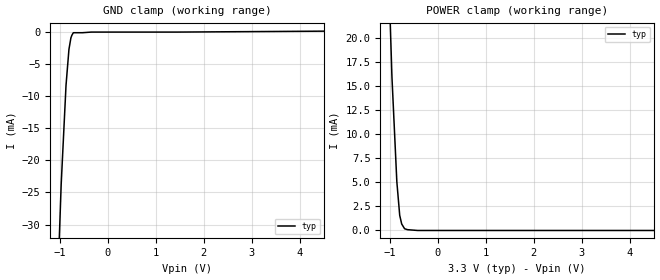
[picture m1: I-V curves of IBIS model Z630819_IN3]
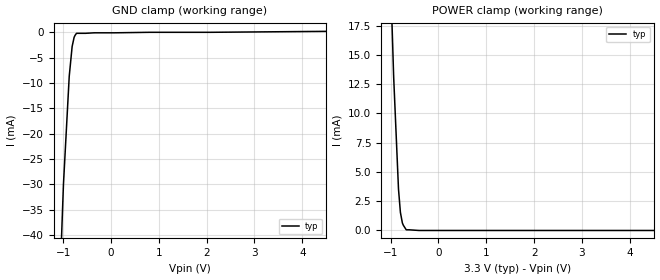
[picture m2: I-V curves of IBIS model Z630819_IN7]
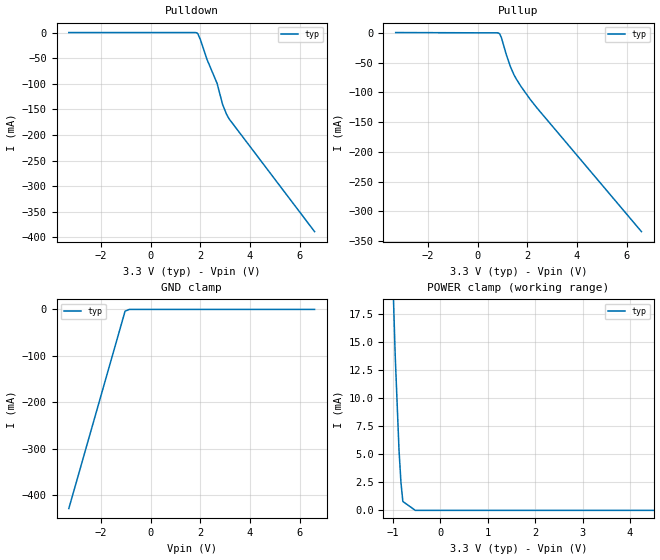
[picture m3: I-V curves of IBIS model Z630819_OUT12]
| YOU ARE ONLY AUTHORIZED TO USE THIS SOFTWARE
| ACCORDING TO LICENSOR'S LICENSE RESTRICTIONS.
[IBIS Ver] 3.1
[File Name] nb100lvep17dt_33.ibs
[File Rev] 1.0
[Source] Derived from mc100lvep210fa_33.ibs
|   Measured and created by ICX Technology
[Date] Monday 12/10/2002
[Copyright]
| (C) COPYRIGHT 1993-2000
| MENTOR GRAPHICS CORPORATION
| ICX STANDARD LIBRARY, ICX PROJECT MODELING,
| ICX CUSTOM MODELING, ICX VENDOR MODEL
| ALL RIGHTS RESERVED.
| THE FOLLOWING ARE TRADEMARKS OR SERVICE MARKS OF
| MENTOR GRAPHICS CORPORATION:ICX (R), ICX STANDARD
| LIBRARY(R), ICX PROJECT MODELING(R), ICX CUSTOM
| MODELING(R), qualityIBIS(TM), MODELVIEWER(TM),
| AND MODELEDITOR(TM)
| ALL COPIES OF SOFTWARE, INCLUDING BUT NOT LIMITED TO
| ANY MODIFICATIONS, ENHANCEMENTS OR DERIVATIVE WORKS,
| MUST CONTAIN ALL MENTOR GRAPHICS CORPORATION'S
| NOTICES AND LEGENDS, INCLUDING THOSE EMBEDDED IN
| SOFTWARE AND THOSE AFFIXED TO SOFTWARE MEDIUM
| AND CONTAINER, AS RECEIVED FROM MENTOR GRAPHICS
| CORPORATION.
|  ZAP Model Builder 2.8
[Component] NB100LVEP17DT_33
[Manufacturer] ON
[Package]
| variable   typ   min   max
R_pkg  .18ohms NA NA
L_pkg  4.22nH NA NA
C_pkg  .41pF NA NA
[Pin] signal_name  model_name  R_pin  L_pin C_pin
1  VCC POWER .194 5.16n .43p
2  D0  Z630819_IN3  .068 4.288n 1.027p
3  _D0 Z630819_IN7  .069 4.455n 1.077p
4  D1  Z630819_IN3  .068 4.288n 1.027p
5  _D1 Z630819_IN7  .069 4.455n 1.077p
6  D2  Z630819_IN3  .068 4.288n 1.027p
7  _D2 Z630819_IN7  .069 4.455n 1.077p
8  D3  Z630819_IN3  .068 4.288n 1.027p
9  _D3 Z630819_IN7  .069 4.455n 1.077p
10 VBB POWER .069 4.455n 1.077p
11 VEE POWER .194 5.16n .43p
12 _Q3 Z630819_OUT13 .068 4.288n 1.027p
13 Q3  Z630819_OUT12 .066 4.127n .978p
14 _Q2 Z630819_OUT13 .068 4.288n 1.027p
15 Q2  Z630819_OUT12 .066 4.127n .978p
16 _Q1 Z630819_OUT13 .068 4.288n 1.027p
17 Q1  Z630819_OUT12 .066 4.127n .978p
18 _Q0 Z630819_OUT13 .068 4.288n 1.027p
19 Q0  Z630819_OUT12 .066 4.127n .978p
20 VCC POWER .194 5.16n .43p
[Diff Pin] inv_pin vdiff tdelay_typ tdelay_min tdelay_max
2 3 150mv NA NA NA
4 5 150mv NA NA NA
6 7 150mv NA NA NA
8 9 150mv NA NA NA
13 12 NA .240ns .200ns .310ns
15 14 NA .240ns .200ns .310ns
17 16 NA .240ns .200ns .310ns
19 18 NA .240ns .200ns .310ns
| Models and submodels in the file (4): Z630819_IN3 (Input_ECL), Z630819_IN7 (Input_ECL), Z630819_OUT12 (Output_ECL), Z630819_OUT13 (Output_ECL)
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| (C) COPYRIGHT 1993-2000
| MENTOR GRAPHICS CORPORATION
| ICX STANDARD LIBRARY, ICX PROJECT MODELING,
| ICX CUSTOM MODELING, ICX VENDOR MODEL
| ALL RIGHTS RESERVED.
| THE FOLLOWING ARE TRADEMARKS OR SERVICE MARKS OF
| MENTOR GRAPHICS CORPORATION:ICX (R), ICX STANDARD
| LIBRARY(R), ICX PROJECT MODELING(R), ICX CUSTOM
| MODELING(R), qualityIBIS(TM), MODELVIEWER(TM),
| AND MODELEDITOR(TM)
| ALL COPIES OF SOFTWARE, INCLUDING BUT NOT LIMITED TO
| ANY MODIFICATIONS, ENHANCEMENTS OR DERIVATIVE WORKS,
| MUST CONTAIN ALL MENTOR GRAPHICS CORPORATION'S
| NOTICES AND LEGENDS, INCLUDING THOSE EMBEDDED IN
| SOFTWARE AND THOSE AFFIXED TO SOFTWARE MEDIUM
| AND CONTAINER, AS RECEIVED FROM MENTOR GRAPHICS
| CORPORATION.
| Model Application Version 1.89 2/18/99.
[Model] Z630819_IN3
Model_type Input_ECL
Vinl = 1.675V
Vinh = 2.135V
C_comp 1.500pF NA NA
| variable typ   min   max
[Voltage Range] 3.300V NA NA
[GND Clamp Reference] 0.000V NA NA
[POWER Clamp Reference] 3.300V NA NA
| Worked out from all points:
|   GND clamp passes 1 mA (typ) near -0.77 V on its own axis
|   POWER clamp passes 1 mA (typ) near -0.77 V on its own axis
[GND Clamp]
-3.3V     -625.8mA   NA         NA
-1.095V   -49.9mA    NA         NA
-973mV    -23.8mA    NA         NA
-872mV    -8.3mA     NA         NA
-811mV    -2.7mA     NA         NA
-770mV    -900uA     NA         NA
-750mV    -500uA     NA         NA
-719.8mV  -100uA     NA         NA
-532.3mV  -100uA     NA         NA
-344.8mV  0A         NA         NA
1.449V    0A         NA         NA
6.6V      243.2uA    NA         NA
[POWER Clamp]
-3.3V     386.1mA    NA         NA
-957mV    15.97mA    NA         NA
-855mV    5.072mA    NA         NA
-795mV    1.575mA    NA         NA
-754mV    677uA      NA         NA
-693mV    179.9uA    NA         NA
-632mV    82.77uA    NA         NA
-421.3mV  0A         NA         NA
6.6V      0A         NA         NA
| (C) COPYRIGHT 1993-2000
| MENTOR GRAPHICS CORPORATION
| ICX STANDARD LIBRARY, ICX PROJECT MODELING,
| ICX CUSTOM MODELING, ICX VENDOR MODEL
| ALL RIGHTS RESERVED.
| THE FOLLOWING ARE TRADEMARKS OR SERVICE MARKS OF
| MENTOR GRAPHICS CORPORATION:ICX (R), ICX STANDARD
| LIBRARY(R), ICX PROJECT MODELING(R), ICX CUSTOM
| MODELING(R), qualityIBIS(TM), MODELVIEWER(TM),
| AND MODELEDITOR(TM)
| ALL COPIES OF SOFTWARE, INCLUDING BUT NOT LIMITED TO
| ANY MODIFICATIONS, ENHANCEMENTS OR DERIVATIVE WORKS,
| MUST CONTAIN ALL MENTOR GRAPHICS CORPORATION'S
| NOTICES AND LEGENDS, INCLUDING THOSE EMBEDDED IN
| SOFTWARE AND THOSE AFFIXED TO SOFTWARE MEDIUM
| AND CONTAINER, AS RECEIVED FROM MENTOR GRAPHICS
| CORPORATION.
| Model Application Version 1.89 2/18/99.
[Model] Z630819_IN7
Model_type Input_ECL
Vinl = 1.675V
Vinh = 2.135V
C_comp 1.500pF NA NA
| variable typ   min   max
[Voltage Range] 3.300V NA NA
[GND Clamp Reference] 0.000V NA NA
[POWER Clamp Reference] 3.300V NA NA
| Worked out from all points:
|   GND clamp passes 1 mA (typ) near -0.77 V on its own axis
|   POWER clamp passes 1 mA (typ) near -0.77 V on its own axis
[GND Clamp]
-3.3V     -767.5mA   NA         NA
-1.115V   -62.2mA    NA         NA
-993mV    -30.1mA    NA         NA
-872mV    -8.7mA     NA         NA
-811mV    -2.8mA     NA         NA
-770mV    -1mA       NA         NA
-719.8mV  -200uA     NA         NA
6.6V      353.3uA    NA         NA
[POWER Clamp]
-3.3V     388mA      NA         NA
-1.038V   26.52mA    NA         NA
-936mV    13.13mA    NA         NA
-835mV    3.54mA     NA         NA
-795mV    1.543mA    NA         NA
-754mV    646uA      NA         NA
-734mV    447.6uA    NA         NA
-673mV    57.17uA    NA         NA
-612mV    57.17uA    NA         NA
-408mV    0A         NA         NA
6.6V      0A         NA         NA
| (C) COPYRIGHT 1993-2000
| MENTOR GRAPHICS CORPORATION
| ICX STANDARD LIBRARY, ICX PROJECT MODELING,
| ICX CUSTOM MODELING, ICX VENDOR MODEL
| ALL RIGHTS RESERVED.
| THE FOLLOWING ARE TRADEMARKS OR SERVICE MARKS OF
| MENTOR GRAPHICS CORPORATION:ICX (R), ICX STANDARD
| LIBRARY(R), ICX PROJECT MODELING(R), ICX CUSTOM
| MODELING(R), qualityIBIS(TM), MODELVIEWER(TM),
| AND MODELEDITOR(TM)
| ALL COPIES OF SOFTWARE, INCLUDING BUT NOT LIMITED TO
| ANY MODIFICATIONS, ENHANCEMENTS OR DERIVATIVE WORKS,
| MUST CONTAIN ALL MENTOR GRAPHICS CORPORATION'S
| NOTICES AND LEGENDS, INCLUDING THOSE EMBEDDED IN
| SOFTWARE AND THOSE AFFIXED TO SOFTWARE MEDIUM
| AND CONTAINER, AS RECEIVED FROM MENTOR GRAPHICS
| CORPORATION.
| Model Application Version 1.89 2/18/99.
[Model] Z630819_OUT12
Model_type Output_ECL
Vref=0.500V
Rref=50.00ohms
Cref=0.000F
Vmeas=1.905V
C_comp 1.500pF NA NA
| variable typ   min   max
[Voltage Range] 3.300V NA NA
[POWER Clamp Reference] 3.300V NA NA
[Pullup Reference] 3.300V NA NA
[Pulldown Reference] 3.300V NA NA
[GND Clamp Reference] 0.000V NA NA
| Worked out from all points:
|   GND clamp passes 1 mA (typ) near -0.91 V on its own axis
|   POWER clamp passes 1 mA (typ) near -0.79 V on its own axis
[GND Clamp]
-3.3V     -429.1mA   NA         NA
-1.034V   -3.713mA   NA         NA
-861.7mV  0A         NA         NA
6.6V      0A         NA         NA
[Pulldown]
-3.3V     0A         NA         NA
1.78V     0A         NA         NA
1.841V    -400uA     NA         NA
1.861V    -800uA     NA         NA
1.901V    -2.6mA     NA         NA
2.003V    -14.2mA    NA         NA
2.266V    -52.5mA    NA         NA
2.672V    -99.2mA    NA         NA
2.895V    -140.5mA   NA         NA
3.057V    -159.9mA   NA         NA
3.158V    -168.7mA   NA         NA
6.6V      -388.8mA   NA         NA
[Pullup]
-3.3V     450.5uA    NA         NA
852mV     -600uA     NA         NA
893mV     -2.1mA     NA         NA
954mV     -7.6mA     NA         NA
1.156V    -36.7mA    NA         NA
1.318V    -56.6mA    NA         NA
1.46V     -70.2mA    NA         NA
1.744V    -90mA      NA         NA
2.109V    -111.4mA   NA         NA
6.6V      -334.3mA   NA         NA
[POWER Clamp]
-3.3V     399.1mA    NA         NA
-1.073V   30.65mA    NA         NA
-952mV    13.87mA    NA         NA
-871mV    5.378mA    NA         NA
-830mV    2.484mA    NA         NA
-790mV    788.9uA    NA         NA
-526.7mV  0A         NA         NA
6.6V      0A         NA         NA
[Ramp]
| variable typ min max
dV/dt_r 479.4m/193.4p NA NA
dV/dt_f 479.4m/159.7p NA NA
R_load = 50.00Ohms
